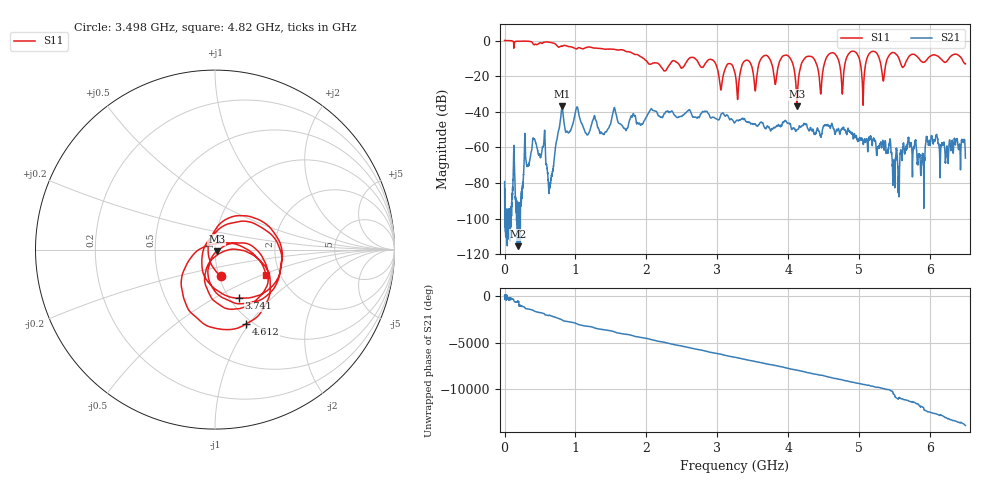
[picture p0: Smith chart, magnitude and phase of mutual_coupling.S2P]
!Keysight Technologies,E5063A,MY54503115,A.05.08
!Date: Wed Dec 06 19:10:45 2023
!Data & Calibration Information:
!Freq	S11:NONE(--)	S21:NONE(--)	S12:NONE(--)	S22:NONE(--)
# Hz S dB R 50
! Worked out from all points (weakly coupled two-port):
!   10001 points, 100 kHz to 6.5 GHz, reference 50 ohm
!   highest |S21| = -36.97 dB at 810.6 MHz (marker M1); lowest = -115.5 dB at 192.5 MHz (marker M2)
!   lowest |S11| = -37.0 dB at 4.123 GHz (marker M3), VSWR 1.03, Z = 51 - j1.05 ohm
!   |S11| at or under -10 dB: 1.956 GHz to 2.604 GHz (648.2 MHz wide, 28.4 % of centre); 2.682 GHz to 3.621 GHz (938.8 MHz wide, 29.8 % of centre); 4.03 GHz to 4.234 GHz (204.2 MHz wide, 4.94 % of centre) (the widest 3 of 12)
!   S12 and S22 are empty: the file has one direction only
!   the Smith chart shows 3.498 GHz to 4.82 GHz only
!   S11 on the Smith chart (normalised r, x): 3.498 GHz: 1.02, -0.31; 3.741 GHz: 1.10, -0.66; 4.612 GHz: 0.93, -0.97; 4.82 GHz: 1.69, -0.52
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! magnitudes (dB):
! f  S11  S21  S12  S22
! 100 kHz  0.0  -79.2  -  -
! 192.5 MHz  -0.4  -115.5  -  -
! 420 MHz  -2.4  -55.2  -  -
! 644.2 MHz  -1.0  -80.1  -  -
! 810.6 MHz  -3.2  -37.0  -  -
! 1.084 GHz  -4.4  -46.4  -  -
! 2.167 GHz  -12.9  -42.2  -  -
! 3.25 GHz  -18.3  -45.9  -  -
! 3.498 GHz  -16.4  -46.8  -  -
! 3.741 GHz  -10.4  -49.5  -  -
! 3.82 GHz  -24.6  -48.8  -  -
! 4.005 GHz  -8.9  -46.5  -  -
! 4.123 GHz  -37.0  -50.2  -  -
! 4.334 GHz  -9.1  -50.6  -  -
! 4.459 GHz  -30.0  -53.9  -  -
! 4.612 GHz  -7.0  -46.8  -  -
! 4.761 GHz  -29.0  -49.3  -  -
! 4.82 GHz  -10.0  -52.2  -  -
! 5.057 GHz  -36.3  -57.8  -  -
! 5.161 GHz  -6.6  -53.9  -  -
! 5.417 GHz  -8.8  -60.6  -  -
! 6.5 GHz  -13.0  -66.0  -  -
